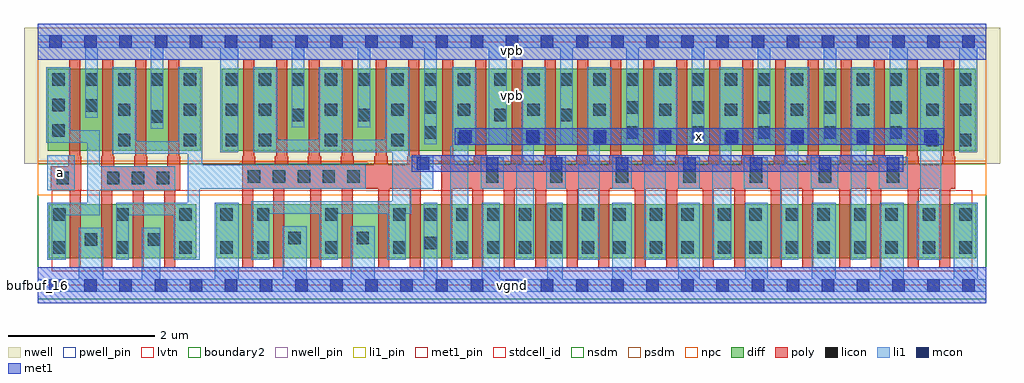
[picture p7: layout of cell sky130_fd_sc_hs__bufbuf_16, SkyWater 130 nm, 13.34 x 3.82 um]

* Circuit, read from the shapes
.subckt sky130_fd_sc_hs__bufbuf_16 a vgnd vnb vpb vpwr x
XM1 vgnd a n1 vnb sky130_fd_pr__nfet_01v8_lvt w=0.74 l=0.15
XM2 n2 n1 vgnd vnb sky130_fd_pr__nfet_01v8_lvt w=0.74 l=0.15 m=3
XM3 n3 n2 vgnd vnb sky130_fd_pr__nfet_01v8_lvt w=0.74 l=0.15 m=6
XM4 x n3 vgnd vnb sky130_fd_pr__nfet_01v8_lvt w=0.74 l=0.15 m=16
XM5 vpwr a n1 vpb sky130_fd_pr__pfet_01v8 w=1.12 l=0.15
XM6 n2 n1 vpwr vpb sky130_fd_pr__pfet_01v8 w=1.12 l=0.15 m=3
XM7 n3 n2 vpwr vpb sky130_fd_pr__pfet_01v8 w=1.12 l=0.15 m=6
XM8 x n3 vpwr vpb sky130_fd_pr__pfet_01v8 w=1.12 l=0.15 m=16
.ends

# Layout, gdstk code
import gdstk
lib = gdstk.Library(unit=1e-6, precision=1e-09)
def R(c, l, rs):  # rectangles x0, y0, x1, y1
    for r in rs: c.add(gdstk.rectangle(r[:2], r[2:], *l))
def A(c, l, x, y, w, h, nx, ny, dx, dy):  # array of equal rectangles
    R(c, l, [(x+i*dx, y+j*dy, x+i*dx+w, y+j*dy+h) for i in range(nx) for j in range(ny)])
def P(c, l, *ps):  # polygons
    for p in ps: c.add(gdstk.Polygon(p, *l))
nwell_pin = (64, 16)
nwell = (64, 20)
diff = (65, 20)
poly = (66, 20)
licon = (66, 44)
li1_pin = (67, 16)
li1 = (67, 20)
mcon = (67, 44)
met1_pin = (68, 16)
met1 = (68, 20)
stdcell_id = (81, 4)
nsdm = (93, 44)
psdm = (94, 20)
npc = (95, 20)
pwell_pin = (122, 16)
lvtn = (125, 44)
boundary2 = (236, 0)

sky130_fd_sc_hs__bufbuf_ = lib.new_cell('sky130_fd_sc_hs__bufbuf_16')
R(sky130_fd_sc_hs__bufbuf_, nwell_pin, [(0,3.085,12.96,3.33)])
R(sky130_fd_sc_hs__bufbuf_, nwell, [(-0.19,1.66,13.15,3.52)])
R(sky130_fd_sc_hs__bufbuf_, diff, [(0.15,0.37,2.165,1.11), (2.435,0.37,12.825,1.11), (0.135,1.84,2.225,2.96), (2.51,1.84,12.82,2.96)])
P(sky130_fd_sc_hs__bufbuf_, poly, [(0.435,0.24),(0.435,1.3),(0.175,1.3),(0.175,1.63),(0.415,1.63),(0.415,1.765),(0.43,1.765),(0.43,3.09),(0.58,3.09),(0.58,1.765),(0.595,1.765),(0.595,1.3),(0.585,1.3),(0.585,0.24)],
  [(0.865,0.24),(0.865,1.765),(0.88,1.765),(0.88,3.09),(1.03,3.09),(1.03,1.765),(1.045,1.765),(1.045,1.63),(1.315,1.63),(1.315,1.765),(1.33,1.765),(1.33,3.09),(1.48,3.09),(1.48,1.765),(1.495,1.765),(1.495,1.63),(1.765,1.63),(1.765,1.765),(1.78,1.765),(1.78,3.09),(1.93,3.09),(1.93,1.765),(1.945,1.765),(1.945,1.3),(1.88,1.3),(1.88,0.24),(1.73,0.24),(1.73,1.3),(1.445,1.3),(1.445,0.24),(1.295,0.24),(1.295,1.3),(1.015,1.3),(1.015,0.24)],
  [(5.51,0.24),(5.51,1.765),(5.525,1.765),(5.525,3.09),(5.675,3.09),(5.675,1.765),(5.69,1.765),(5.69,1.65),(5.96,1.65),(5.96,1.765),(5.975,1.765),(5.975,3.09),(6.125,3.09),(6.125,1.765),(6.14,1.765),(6.14,1.65),(6.46,1.65),(6.46,1.765),(6.475,1.765),(6.475,3.09),(6.625,3.09),(6.625,1.765),(6.64,1.765),(6.64,1.65),(6.91,1.65),(6.91,1.765),(6.925,1.765),(6.925,3.09),(7.075,3.09),(7.075,1.765),(7.09,1.765),(7.09,1.65),(7.36,1.65),(7.36,1.765),(7.375,1.765),(7.375,3.09),(7.525,3.09),(7.525,1.765),(7.54,1.765),(7.54,1.65),(7.81,1.65),(7.81,1.765),(7.825,1.765),(7.825,3.09),(7.975,3.09),(7.975,1.765),(7.99,1.765),(7.99,1.65),(8.26,1.65),(8.26,1.765),(8.275,1.765),(8.275,3.09),(8.425,3.09),(8.425,1.765),(8.44,1.765),(8.44,1.65),(8.71,1.65),(8.71,1.765),(8.725,1.765),(8.725,3.09),(8.875,3.09),(8.875,1.765),(8.89,1.765),(8.89,1.65),(9.16,1.65),(9.16,1.765),(9.175,1.765),(9.175,3.09),(9.325,3.09),(9.325,1.765),(9.34,1.765),(9.34,1.65),(9.61,1.65),(9.61,1.765),(9.625,1.765),(9.625,3.09),(9.775,3.09),(9.775,1.765),(9.79,1.765),(9.79,1.65),(10.06,1.65),(10.06,1.765),(10.075,1.765),(10.075,3.09),(10.225,3.09),(10.225,1.765),(10.24,1.765),(10.24,1.65),(10.51,1.65),(10.51,1.765),(10.525,1.765),(10.525,3.09),(10.675,3.09),(10.675,1.765),(10.69,1.765),(10.69,1.65),(10.96,1.65),(10.96,1.765),(10.975,1.765),(10.975,3.09),(11.125,3.09),(11.125,1.765),(11.14,1.765),(11.14,1.65),(11.41,1.65),(11.41,1.765),(11.425,1.765),(11.425,3.09),(11.575,3.09),(11.575,1.765),(11.59,1.765),(11.59,1.65),(11.86,1.65),(11.86,1.765),(11.875,1.765),(11.875,3.09),(12.025,3.09),(12.025,1.765),(12.04,1.765),(12.04,1.65),(12.36,1.65),(12.36,1.765),(12.375,1.765),(12.375,3.09),(12.525,3.09),(12.525,1.765),(12.54,1.765),(12.54,1.32),(12.47,1.32),(12.47,0.24),(12.32,0.24),(12.32,1.32),(12.04,1.32),(12.04,0.24),(11.89,0.24),(11.89,1.32),(11.53,1.32),(11.53,0.24),(11.38,0.24),(11.38,1.32),(11.1,1.32),(11.1,0.24),(10.95,0.24),(10.95,1.32),(10.6,1.32),(10.6,0.24),(10.45,0.24),(10.45,1.32),(10.17,1.32),(10.17,0.24),(10.02,0.24),(10.02,1.32),(9.67,1.32),(9.67,0.24),(9.52,0.24),(9.52,1.32),(9.24,1.32),(9.24,0.24),(9.09,0.24),(9.09,1.32),(8.74,1.32),(8.74,0.24),(8.59,0.24),(8.59,1.32),(8.31,1.32),(8.31,0.24),(8.16,0.24),(8.16,1.32),(7.81,1.32),(7.81,0.24),(7.66,0.24),(7.66,1.32),(7.38,1.32),(7.38,0.24),(7.23,0.24),(7.23,1.32),(6.95,1.32),(6.95,0.24),(6.8,0.24),(6.8,1.32),(6.52,1.32),(6.52,0.24),(6.37,0.24),(6.37,1.32),(6.09,1.32),(6.09,0.24),(5.94,0.24),(5.94,1.32),(5.66,1.32),(5.66,0.24)],
  [(2.79,0.24),(2.79,1.765),(2.805,1.765),(2.805,3.09),(2.955,3.09),(2.955,1.765),(2.97,1.765),(2.97,1.65),(3.24,1.65),(3.24,1.765),(3.255,1.765),(3.255,3.09),(3.405,3.09),(3.405,1.765),(3.42,1.765),(3.42,1.65),(3.69,1.65),(3.69,1.765),(3.705,1.765),(3.705,3.09),(3.855,3.09),(3.855,1.765),(3.87,1.765),(3.87,1.65),(4.14,1.65),(4.14,1.765),(4.155,1.765),(4.155,3.09),(4.305,3.09),(4.305,1.765),(4.32,1.765),(4.32,1.65),(4.6,1.65),(4.6,1.765),(4.615,1.765),(4.615,3.09),(4.765,3.09),(4.765,1.765),(4.78,1.765),(4.78,1.65),(5.05,1.65),(5.05,1.765),(5.065,1.765),(5.065,3.09),(5.215,3.09),(5.215,1.765),(5.23,1.765),(5.23,0.24),(5.08,0.24),(5.08,1.32),(4.8,1.32),(4.8,0.24),(4.65,0.24),(4.65,1.32),(4.3,1.32),(4.3,0.24),(4.15,0.24),(4.15,1.32),(3.87,1.32),(3.87,0.24),(3.72,0.24),(3.72,1.32),(3.37,1.32),(3.37,0.24),(3.22,0.24),(3.22,1.32),(2.94,1.32),(2.94,0.24)])
A(sky130_fd_sc_hs__bufbuf_, licon, 2.995, 0.43, 0.17, 0.17, 3, 2, 0.93, 0.45)
A(sky130_fd_sc_hs__bufbuf_, licon, 5.715, 0.43, 0.17, 0.17, 6, 1, 0.43, 0)
A(sky130_fd_sc_hs__bufbuf_, licon, 5.285, 0.88, 0.17, 0.17, 7, 1, 0.43, 0)
A(sky130_fd_sc_hs__bufbuf_, licon, 0.945, 1.38, 0.17, 0.17, 3, 1, 0.34, 0)
A(sky130_fd_sc_hs__bufbuf_, licon, 2.87, 1.4, 0.17, 0.17, 5, 1, 0.34, 0)
A(sky130_fd_sc_hs__bufbuf_, licon, 12.14, 1.9, 0.17, 0.17, 1, 3, 0, 0.415)
A(sky130_fd_sc_hs__bufbuf_, licon, 12.59, 1.9, 0.17, 0.17, 1, 3, 0, 0.415)
A(sky130_fd_sc_hs__bufbuf_, licon, 6.69, 1.92, 0.17, 0.17, 6, 2, 0.9, 0.395)
A(sky130_fd_sc_hs__bufbuf_, licon, 8.04, 2.005, 0.17, 0.17, 5, 2, 0.9, 0.34)
A(sky130_fd_sc_hs__bufbuf_, licon, 3.92, 2.315, 0.17, 0.17, 3, 1, 0.91, 0)
A(sky130_fd_sc_hs__bufbuf_, licon, 0.195, 2.73, 0.17, 0.17, 5, 1, 0.45, 0)
A(sky130_fd_sc_hs__bufbuf_, licon, 2.57, 2.73, 0.17, 0.17, 5, 1, 0.45, 0)
A(sky130_fd_sc_hs__bufbuf_, licon, 6.24, 2.73, 0.17, 0.17, 13, 1, 0.45, 0)
R(sky130_fd_sc_hs__bufbuf_, licon, [(0.21,0.43,0.38,0.6), (1.07,0.43,1.24,0.6), (1.935,0.43,2.105,0.6), (2.495,0.43,2.665,0.6), (8.365,0.43,8.535,0.6), (8.795,0.43,8.965,0.6), (9.295,0.43,9.465,0.6), (9.725,0.43,9.895,0.6), (10.225,0.43,10.395,0.6), (10.655,0.43,10.825,0.6), (11.155,0.43,11.325,0.6), (11.585,0.43,11.755,0.6), (12.095,0.43,12.265,0.6), (12.595,0.43,12.765,0.6), (5.285,0.495,5.455,0.665), (0.64,0.54,0.81,0.71), (1.5,0.54,1.67,0.71), (3.425,0.56,3.595,0.73), (4.355,0.56,4.525,0.73), (0.21,0.88,0.38,1.05), (1.07,0.88,1.24,1.05), (1.935,0.88,2.105,1.05), (2.495,0.88,2.665,1.05), (8.365,0.88,8.535,1.05), (8.795,0.88,8.965,1.05), (9.295,0.88,9.465,1.05), (9.725,0.88,9.895,1.05), (10.225,0.88,10.395,1.05), (10.655,0.88,10.825,1.05), (11.155,0.88,11.325,1.05), (11.585,0.88,11.755,1.05), (12.095,0.88,12.265,1.05), (12.595,0.88,12.765,1.05), (0.255,1.38,0.425,1.55), (6.125,1.4,6.295,1.57), (7,1.4,7.17,1.57), (7.9,1.4,8.07,1.57), (8.82,1.4,8.99,1.57), (9.73,1.4,9.9,1.57), (10.675,1.4,10.845,1.57), (11.6,1.4,11.77,1.57), (1.095,1.9,1.265,2.07), (1.995,1.9,2.165,2.07), (2.57,1.9,2.74,2.07), (3.02,1.9,3.19,2.07), (3.92,1.9,4.09,2.07), (4.83,1.9,5,2.07), (5.74,1.925,5.91,2.095), (5.28,2.005,5.45,2.175), (0.195,2.03,0.365,2.2), (1.545,2.22,1.715,2.39), (3.47,2.24,3.64,2.41), (4.37,2.24,4.54,2.41), (6.24,2.24,6.41,2.41), (7.14,2.24,7.31,2.41), (1.095,2.315,1.265,2.485), (1.995,2.315,2.165,2.485), (2.57,2.315,2.74,2.485), (3.02,2.315,3.19,2.485), (5.28,2.345,5.45,2.515), (0.645,2.37,0.815,2.54), (0.195,2.38,0.365,2.55), (4.83,2.73,5,2.9), (5.28,2.73,5.45,2.9), (5.74,2.73,5.91,2.9)])
R(sky130_fd_sc_hs__bufbuf_, li1_pin, [(0.125,1.3,0.505,1.78)])
R(sky130_fd_sc_hs__bufbuf_, li1, [(0.125,1.3,0.505,1.78), (6.055,1.32,6.365,1.75), (6.95,1.32,7.215,1.75), (7.85,1.32,8.115,1.75), (8.75,1.32,9.045,1.75), (9.65,1.32,9.975,1.75), (10.565,1.32,10.94,1.75), (11.495,1.32,11.89,1.75)])
P(sky130_fd_sc_hs__bufbuf_, li1, [(6.535,0.35),(6.535,1.65),(6.61,1.65),(6.61,2.98),(6.94,2.98),(6.94,1.92),(6.78,1.92),(6.78,0.35)],
  [(7.385,0.35),(7.385,1.65),(7.51,1.65),(7.51,2.98),(7.84,2.98),(7.84,1.92),(7.68,1.92),(7.68,0.35)],
  [(8.285,0.35),(8.285,1.65),(8.41,1.65),(8.41,2.98),(8.74,2.98),(8.74,1.92),(8.58,1.92),(8.58,0.35)],
  [(9.215,0.35),(9.215,1.65),(9.31,1.65),(9.31,2.98),(9.64,2.98),(9.64,1.92),(9.48,1.92),(9.48,0.35)],
  [(10.145,0.35),(10.145,1.65),(10.21,1.65),(10.21,2.98),(10.54,2.98),(10.54,1.92),(10.395,1.92),(10.395,0.35)],
  [(11.11,0.35),(11.11,2.98),(11.44,2.98),(11.44,1.92),(11.325,1.92),(11.325,0.35)],
  [(12.015,0.35),(12.015,1.15),(12.06,1.15),(12.06,2.98),(12.39,2.98),(12.39,2.02),(12.345,2.02),(12.345,0.35)],
  [(0.13,0.35),(0.13,1.13),(0.675,1.13),(0.675,1.95),(0.115,1.95),(0.115,2.98),(0.445,2.98),(0.445,2.12),(0.845,2.12),(0.845,1.63),(1.875,1.63),(1.875,1.3),(0.845,1.3),(0.845,0.96),(0.38,0.96),(0.38,0.35)],
  [(1.07,0.35),(1.07,1.13),(2.045,1.13),(2.045,1.8),(1.015,1.8),(1.015,2.98),(1.345,2.98),(1.345,1.97),(1.915,1.97),(1.915,2.98),(2.245,2.98),(2.245,1.65),(4.48,1.65),(4.48,1.32),(2.215,1.32),(2.215,0.35),(1.855,0.35),(1.855,0.96),(1.24,0.96),(1.24,0.35)],
  [(2.915,0.35),(2.915,1.15),(4.845,1.15),(4.845,1.82),(2.94,1.82),(2.94,2.98),(3.27,2.98),(3.27,1.99),(3.84,1.99),(3.84,2.98),(4.17,2.98),(4.17,1.99),(4.75,1.99),(4.75,2.98),(5.08,2.98),(5.08,1.755),(5.405,1.755),(5.405,1.32),(5.105,1.32),(5.105,0.98),(5.025,0.98),(5.025,0.35),(4.775,0.35),(4.775,0.98),(4.095,0.98),(4.095,0.35),(3.845,0.35),(3.845,0.98),(3.165,0.98),(3.165,0.35)],
  [(5.635,0.35),(5.635,1.9),(5.66,1.9),(5.66,2.98),(5.99,2.98),(5.99,1.92),(5.885,1.92),(5.885,0.35)],
  [(0,-0.085),(0,0.085),(0.56,0.085),(0.56,0.79),(0.89,0.79),(0.89,0.085),(1.42,0.085),(1.42,0.79),(1.67,0.79),(1.67,0.085),(2.415,0.085),(2.415,1.13),(2.745,1.13),(2.745,0.085),(3.345,0.085),(3.345,0.81),(3.675,0.81),(3.675,0.085),(4.275,0.085),(4.275,0.81),(4.605,0.81),(4.605,0.085),(5.275,0.085),(5.275,1.13),(5.455,1.13),(5.455,0.085),(6.065,0.085),(6.065,1.13),(6.315,1.13),(6.315,0.085),(6.96,0.085),(6.96,1.13),(7.175,1.13),(7.175,0.085),(7.85,0.085),(7.85,1.13),(8.115,1.13),(8.115,0.085),(8.75,0.085),(8.75,1.13),(9.045,1.13),(9.045,0.085),(9.665,0.085),(9.665,1.13),(9.975,1.13),(9.975,0.085),(10.575,0.085),(10.575,1.13),(10.905,1.13),(10.905,0.085),(11.505,0.085),(11.505,1.13),(11.835,1.13),(11.835,0.085),(12.515,0.085),(12.515,1.13),(12.845,1.13),(12.845,0.085),(12.96,0.085),(12.96,-0.085)],
  [(2.49,1.82),(2.49,3.245),(1.715,3.245),(1.715,2.14),(1.545,2.14),(1.545,3.245),(0.815,3.245),(0.815,2.29),(0.645,2.29),(0.645,3.245),(0,3.245),(0,3.415),(12.96,3.415),(12.96,3.245),(12.84,3.245),(12.84,1.82),(12.59,1.82),(12.59,3.245),(11.89,3.245),(11.89,1.925),(11.64,1.925),(11.64,3.245),(10.91,3.245),(10.91,1.925),(10.74,1.925),(10.74,3.245),(10.01,3.245),(10.01,1.925),(9.84,1.925),(9.84,3.245),(9.11,3.245),(9.11,1.925),(8.94,1.925),(8.94,3.245),(8.21,3.245),(8.21,1.925),(8.04,1.925),(8.04,3.245),(7.31,3.245),(7.31,1.925),(7.14,1.925),(7.14,3.245),(6.41,3.245),(6.41,1.925),(6.16,1.925),(6.16,3.245),(5.45,3.245),(5.45,1.925),(5.28,1.925),(5.28,3.245),(4.54,3.245),(4.54,2.16),(4.37,2.16),(4.37,3.245),(3.64,3.245),(3.64,2.16),(3.47,2.16),(3.47,3.245),(2.74,3.245),(2.74,1.82)])
A(sky130_fd_sc_hs__bufbuf_, mcon, 0.155, -0.085, 0.17, 0.17, 27, 2, 0.48, 3.33)
R(sky130_fd_sc_hs__bufbuf_, mcon, [(5.18,1.58,5.35,1.75), (6.125,1.58,6.295,1.75), (7,1.58,7.17,1.75), (7.9,1.58,8.07,1.75), (8.82,1.58,8.99,1.75), (9.73,1.58,9.9,1.75), (10.675,1.58,10.845,1.75), (11.6,1.58,11.77,1.75), (5.76,1.95,5.93,2.12), (6.675,1.95,6.845,2.12), (7.595,1.95,7.765,2.12), (8.485,1.95,8.655,2.12), (9.405,1.95,9.575,2.12), (10.295,1.95,10.465,2.12), (11.195,1.95,11.365,2.12), (12.115,1.95,12.285,2.12)])
R(sky130_fd_sc_hs__bufbuf_, met1_pin, [(0,0,12.96,0.245), (5.7,1.92,12.38,2.15), (0,3.085,12.96,3.33)])
R(sky130_fd_sc_hs__bufbuf_, met1, [(0,-0.245,12.96,0.245), (5.11,1.55,11.83,1.78), (5.7,1.92,12.38,2.15), (0,3.085,12.96,3.575)])
R(sky130_fd_sc_hs__bufbuf_, stdcell_id, [(0,0,12.96,3.33)])
R(sky130_fd_sc_hs__bufbuf_, nsdm, [(0,-0.19,12.96,1.66)])
P(sky130_fd_sc_hs__bufbuf_, psdm, [(0,1.66),(0,3.52),(12.96,3.52),(12.96,1.66),(11.99,1.66),(11.99,1.68),(5.48,1.68),(5.48,1.66),(4.51,1.66),(4.51,1.68),(2.76,1.68),(2.76,1.66)])
R(sky130_fd_sc_hs__bufbuf_, npc, [(0,1.23,12.96,1.7)])
R(sky130_fd_sc_hs__bufbuf_, pwell_pin, [(0,0,12.96,0.245)])
R(sky130_fd_sc_hs__bufbuf_, lvtn, [(0.19,0.19,12.77,1.3)])
R(sky130_fd_sc_hs__bufbuf_, boundary2, [(0,0,12.96,3.33)])
sky130_fd_sc_hs__bufbuf_.add(gdstk.Label('vpb', (6.48,2.59), layer=64, texttype=16))
sky130_fd_sc_hs__bufbuf_.add(gdstk.Label('vpb', (6.48,3.207), layer=64, texttype=16))
sky130_fd_sc_hs__bufbuf_.add(gdstk.Label('vpwr', (6.48,3.33), layer=68, texttype=16))
sky130_fd_sc_hs__bufbuf_.add(gdstk.Label('vgnd', (6.48,0), layer=68, texttype=16))
sky130_fd_sc_hs__bufbuf_.add(gdstk.Label('x', (9.04,2.035), layer=68, texttype=16))
sky130_fd_sc_hs__bufbuf_.add(gdstk.Label('vpwr', (6.48,3.207), layer=68, texttype=16))
sky130_fd_sc_hs__bufbuf_.add(gdstk.Label('x', (9.04,2.035), layer=68, texttype=16))
sky130_fd_sc_hs__bufbuf_.add(gdstk.Label('vgnd', (6.48,0.122), layer=68, texttype=16))
sky130_fd_sc_hs__bufbuf_.add(gdstk.Label('a', (0.315,1.54), layer=67, texttype=16))
sky130_fd_sc_hs__bufbuf_.add(gdstk.Label('a', (0.315,1.54), layer=67, texttype=16))
sky130_fd_sc_hs__bufbuf_.add(gdstk.Label('bufbuf_16', (0,0), layer=83, texttype=44))
sky130_fd_sc_hs__bufbuf_.add(gdstk.Label('vnb', (6.48,0.123), layer=64, texttype=59))

lib.write_gds('sky130_fd_sc_hs__bufbuf_16.gds')
